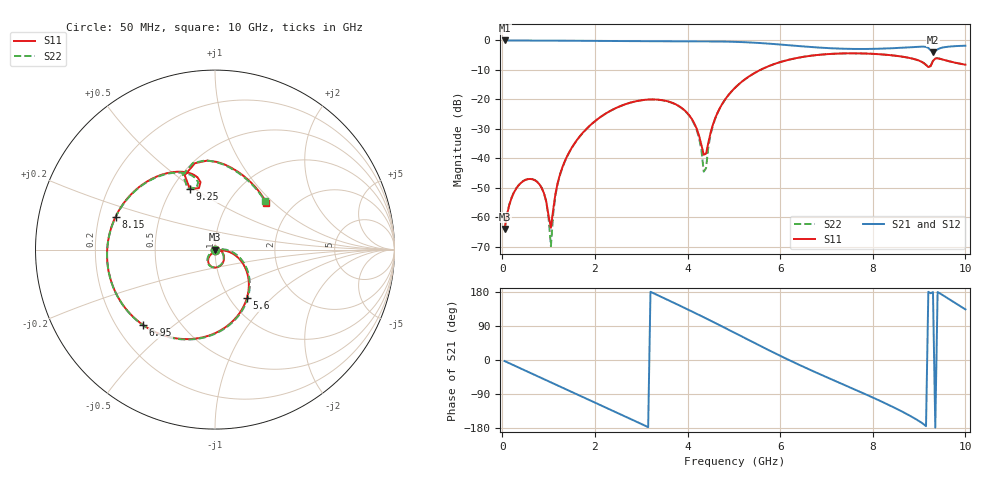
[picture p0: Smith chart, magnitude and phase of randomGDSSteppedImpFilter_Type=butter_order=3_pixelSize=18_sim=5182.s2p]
! freq	dB(S11)	phase(S11)	dB(S12)	phase(S12)
!  dB(S21)	phase(S21)	dB(S22)	phase(S22)
!S-par simulation data
#  GHz  S  DB  R 50
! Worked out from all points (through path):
!   200 points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, 50 MHz to 10 GHz, reference 50 ohm
!   highest |S21| = -0.01 dB at 50 MHz (marker M1); lowest = -4.0 dB at 9.3 GHz (marker M2)
!   group delay of S21, straight-line fit = 162 ps
!   lowest |S11| = -63.9 dB at 50 MHz (marker M3), VSWR 1.00, Z = 50 - j0.0421 ohm
!   |S11| at or under -10 dB: start of sweep to 5.572 GHz
!   |S22| runs from -69.7 to -4.4 dB; largest |S21 - S12| = 0
!   S11 on the Smith chart (normalised r, x): 50 MHz: 1.00, -0.00; 5.6 GHz: 1.19, -0.72; 6.95 GHz: 0.31, -0.39; 8.15 GHz: 0.27, +0.15; 9.25 GHz: 0.61, +0.48; 10 GHz: 1.47, +0.91
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0.05  -63.94 -41.4  -0.01 -2.8  -0.01 -2.8  -63.90 -41.1
0.25  -51.58 -88.4  -0.02 -14.0  -0.02 -14.0  -51.53 -87.6
0.65  -47.06 -124.1  -0.05 -36.3  -0.05 -36.3  -47.01 -121.0
0.9  -51.82 -146.7  -0.07 -50.3  -0.07 -50.3  -51.76 -136.1
1.05  -63.51 113.3  -0.07 -58.7  -0.07 -58.7  -69.74 -19.8
1.15  -51.78 42.5  -0.08 -64.3  -0.08 -64.3  -52.31 25.1
1.25  -45.21 29.8  -0.09 -69.9  -0.09 -69.9  -45.41 20.4
1.75  -31.10 -4.3  -0.12 -97.9  -0.12 -97.9  -31.14 -7.7
2.65  -21.66 -56.3  -0.21 -148.7  -0.21 -148.7  -21.68 -58.6
3.4  -20.13 -98.0  -0.29 168.5  -0.29 168.5  -20.16 -100.8
4.1  -26.80 -130.4  -0.31 127.8  -0.31 127.8  -27.00 -138.0
4.35  -38.76 -89.3  -0.32 112.8  -0.32 112.8  -44.48 -111.0
4.6  -26.24 -6.1  -0.34 97.6  -0.34 97.6  -26.42 1.9
5.05  -15.67 -24.7  -0.49 69.7  -0.49 69.7  -15.68 -22.2
5.6  -9.78 -56.8  -0.91 35.4  -0.91 35.4  -9.78 -55.5
6.7  -5.11 -120.0  -2.27 -28.9  -2.27 -28.9  -5.11 -119.3
6.95  -4.72 -133.6  -2.52 -42.5  -2.52 -42.5  -4.72 -132.8
8.15  -4.68 161.6  -2.80 -107.4  -2.80 -107.4  -4.68 162.5
8.35  -4.94 150.1  -2.69 -119.0  -2.69 -119.0  -4.94 151.1
9.25  -8.73 112.5  -3.35 176.1  -3.35 176.1  -8.57 114.1
9.3  -6.99 112.2  -4.01 179.1  -4.01 179.1  -6.87 113.3
10  -8.21 42.4  -1.79 133.6  -1.79 133.6  -8.21 44.6
